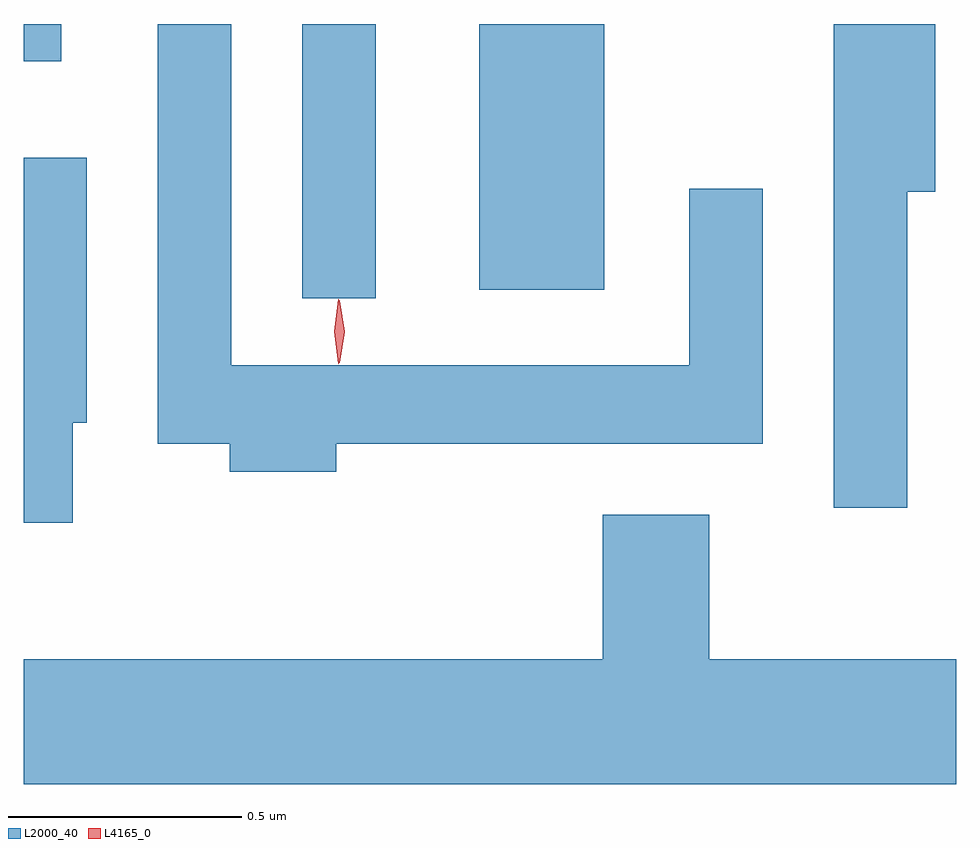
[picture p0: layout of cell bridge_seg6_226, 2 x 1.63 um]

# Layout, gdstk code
import gdstk
lib = gdstk.Library(unit=1e-6, precision=1e-09)
def R(c, l, rs):  # rectangles x0, y0, x1, y1
    for r in rs: c.add(gdstk.rectangle(r[:2], r[2:], *l))
def P(c, l, *ps):  # polygons
    for p in ps: c.add(gdstk.Polygon(p, *l))
L2000_40 = (2000, 40)
L4165_0 = (4165, 0)

bridge_seg6_226 = lib.new_cell('bridge_seg6_226')
R(bridge_seg6_226, L2000_40, [(1097.696,1553.298,1097.854,1553.886), (1098.076,1553.316,1098.344,1553.886), (1097.099,1553.806,1097.179,1553.886)])
P(bridge_seg6_226, L2000_40, [(1097.769,1552.986),(1098.684,1552.986),(1098.684,1553.533),(1098.526,1553.533),(1098.526,1553.154),(1097.544,1553.154),(1097.544,1553.886),(1097.386,1553.886),(1097.386,1552.986),(1097.541,1552.986),(1097.541,1552.926),(1097.769,1552.926)],
  [(1098.994,1553.526),(1099.054,1553.526),(1099.054,1553.886),(1098.836,1553.886),(1098.836,1552.848),(1098.994,1552.848)],
  [(1097.204,1553.031),(1097.234,1553.031),(1097.234,1553.599),(1097.099,1553.599),(1097.099,1552.816),(1097.204,1552.816)],
  [(1099.099,1552.524),(1098.569,1552.524),(1098.569,1552.834),(1098.341,1552.834),(1098.341,1552.524),(1097.099,1552.524),(1097.099,1552.256),(1099.099,1552.256)])
P(bridge_seg6_226, L4165_0, [(1097.774,1553.157),(1097.765,1553.226),(1097.774,1553.296),(1097.775,1553.296),(1097.775,1553.296),(1097.785,1553.226),(1097.775,1553.157),(1097.775,1553.157)],
  [(1097.777,1553.159),(1097.776,1553.16),(1097.767,1553.226),(1097.776,1553.292),(1097.777,1553.293),(1097.777,1553.292),(1097.787,1553.226),(1097.777,1553.16)])

lib.write_gds('bridge_seg6_226.gds')
